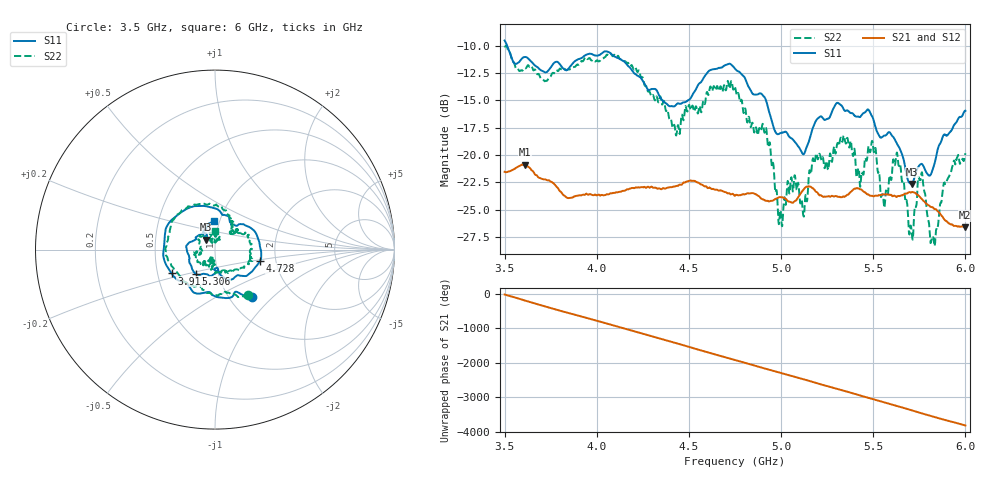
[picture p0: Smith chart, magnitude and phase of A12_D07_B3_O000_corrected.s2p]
! Created with skrf 1.9.0 (http://scikit-rf.org).
# Hz S RI R 50.0
!freq ReS11 ImS11 ReS21 ImS21 ReS12 ImS12 ReS22 ImS22
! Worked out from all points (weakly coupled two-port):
!   1601 points, 3.5 GHz to 6 GHz, reference 50 ohm
!   highest |S21| = -20.86 dB at 3.609 GHz (marker M1); lowest = -26.6 dB at 5.995 GHz (marker M2)
!   lowest |S11| = -22.6 dB at 5.708 GHz (marker M3), VSWR 1.16, Z = 45.1 + j5.04 ohm
!   |S11| at or under -10 dB: 3.513 GHz to end of sweep
!   |S22| runs from -28.3 to -10.0 dB; largest |S21 - S12| = 0.001
!   S11 on the Smith chart (normalised r, x): 3.5 GHz: 1.27, -0.75; 3.911 GHz: 0.59, -0.17; 4.728 GHz: 1.66, -0.22; 5.306 GHz: 0.78, -0.22; 6 GHz: 0.94, +0.31
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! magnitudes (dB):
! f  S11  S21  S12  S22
! 3.5 GHz  -9.5  -21.5  -21.5  -10.0
! 3.609 GHz  -11.0  -20.9  -20.9  -12.0
! 3.911 GHz  -11.2  -23.7  -23.6  -11.5
! 3.917 GHz  -11.1  -23.7  -23.6  -11.4
! 4.334 GHz  -14.4  -23.0  -23.0  -15.2
! 4.439 GHz  -15.3  -22.8  -22.8  -17.3
! 4.728 GHz  -11.7  -23.6  -23.5  -13.3
! 4.75 GHz  -12.1  -23.7  -23.6  -13.8
! 4.911 GHz  -14.7  -24.1  -24.1  -18.0
! 4.997 GHz  -18.0  -23.8  -23.8  -25.0
! 5.064 GHz  -18.6  -24.3  -24.3  -23.3
! 5.13 GHz  -19.7  -23.0  -23.0  -24.1
! 5.167 GHz  -17.8  -23.0  -23.0  -20.9
! 5.306 GHz  -15.2  -23.8  -23.7  -18.9
! 5.502 GHz  -16.8  -23.8  -23.7  -19.6
! 5.584 GHz  -17.9  -23.6  -23.6  -22.5
! 5.636 GHz  -19.2  -23.7  -23.7  -20.8
! 5.708 GHz  -22.6  -23.4  -23.4  -26.9
! 5.755 GHz  -20.9  -23.8  -23.8  -22.2
! 5.823 GHz  -21.3  -24.8  -24.8  -27.5
! 5.995 GHz  -16.0  -26.6  -26.5  -20.3
! 6 GHz  -16.0  -26.5  -26.5  -19.8
